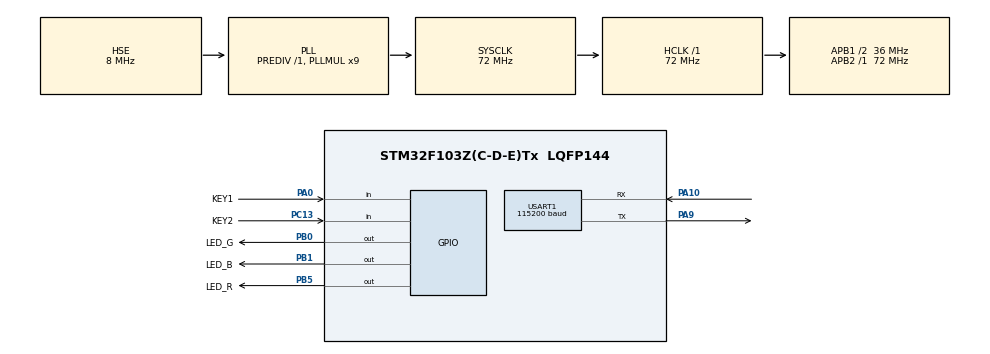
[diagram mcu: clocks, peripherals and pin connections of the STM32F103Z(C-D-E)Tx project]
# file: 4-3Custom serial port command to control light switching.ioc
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Mcu.Family=STM32F1
Mcu.Name=STM32F103Z(C-D-E)Tx
Mcu.Package=LQFP144
NVIC.PriorityGroup=NVIC_PRIORITYGROUP_4
NVIC.USART1_IRQn=true\:10\:0\:true\:false\:true\:true\:true\:true
OSC_IN.Mode=HSE-External-Oscillator
OSC_IN.Signal=RCC_OSC_IN
OSC_OUT.Mode=HSE-External-Oscillator
OSC_OUT.Signal=RCC_OSC_OUT
PA0-WKUP.GPIO_Label=KEY1
PA0-WKUP.Signal=GPIO_Input
PA10.Mode=Asynchronous
PA10.Signal=USART1_RX
PA13.Mode=Serial_Wire
PA13.Signal=SYS_JTMS-SWDIO
PA14.Mode=Serial_Wire
PA14.Signal=SYS_JTCK-SWCLK
PA9.Mode=Asynchronous
PA9.Signal=USART1_TX
PB0.GPIO_Label=LED_G
PB0.GPIO_ModeDefaultOutputPP=GPIO_MODE_OUTPUT_PP
PB0.GPIO_Speed=GPIO_SPEED_FREQ_HIGH
PB0.PinState=GPIO_PIN_SET
PB0.Signal=GPIO_Output
PB1.GPIO_Label=LED_B
PB1.GPIO_Speed=GPIO_SPEED_FREQ_HIGH
PB1.PinState=GPIO_PIN_SET
PB1.Signal=GPIO_Output
PB5.GPIO_Label=LED_R
PB5.GPIO_Speed=GPIO_SPEED_FREQ_HIGH
PB5.PinState=GPIO_PIN_SET
PB5.Signal=GPIO_Output
PC13-TAMPER-RTC.GPIO_Label=KEY2
PC13-TAMPER-RTC.GPIO_PuPd=GPIO_NOPULL
PC13-TAMPER-RTC.Signal=GPIO_Input
PC14-OSC32_IN.Mode=LSE-External-Oscillator
PC14-OSC32_IN.Signal=RCC_OSC32_IN
PC15-OSC32_OUT.Mode=LSE-External-Oscillator
PC15-OSC32_OUT.Signal=RCC_OSC32_OUT
ProjectManager.HeapSize=0x200
ProjectManager.StackSize=0x400
ProjectManager.TargetToolchain=MDK-ARM V5
RCC.AHBFreq_Value=72000000
RCC.APB1CLKDivider=RCC_HCLK_DIV2
RCC.APB1Freq_Value=36000000
RCC.APB1TimFreq_Value=72000000
RCC.APB2Freq_Value=72000000
RCC.APB2TimFreq_Value=72000000
RCC.HCLKFreq_Value=72000000
RCC.PLLMUL=RCC_PLL_MUL9
RCC.PLLSourceVirtual=RCC_PLLSOURCE_HSE
RCC.SYSCLKFreq_VALUE=72000000
RCC.SYSCLKSource=RCC_SYSCLKSOURCE_PLLCLK
RCC.USBFreq_Value=72000000
USART1.BaudRate=115200
USART1.Mode=MODE_TX_RX
USART1.VirtualMode=VM_ASYNC
USART1.WordLength=WORDLENGTH_8B
board=custom

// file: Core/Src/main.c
/* USER CODE BEGIN Header */
/**
 ******************************************************************************
 * @file           : main.c
 * @brief          : Main program body
 ******************************************************************************
 * @attention
 *
 * Copyright (c) 2026 STMicroelectronics.
 * All rights reserved.
 *
 * This software is licensed under terms that can be found in the LICENSE file
 * in the root directory of this software component.
 * If no LICENSE file comes with this software, it is provided AS-IS.
 *
 ******************************************************************************
 */
/* USER CODE END Header */
#include "main.h"

UART_HandleTypeDef huart1;

void SystemClock_Config(void);
static void MX_GPIO_Init(void);
static void MX_USART1_UART_Init(void);

int main(void)
{

  /* MCU Configuration--------------------------------------------------------*/

  /* Reset of all peripherals, Initializes the Flash interface and the Systick. */
  HAL_Init();

  /* Configure the system clock */
  SystemClock_Config();

  /* Initialize all configured peripherals */
  MX_GPIO_Init();
  MX_USART1_UART_Init();
  /* USER CODE BEGIN 2 */
  HAL_UART_Receive_IT(&huart1, (uint8_t *)Uart1Temp, REC_LENGTH); // 启动UART1接收中断
  /* USER CODE END 2 */

  /* Infinite loop */
  /* USER CODE BEGIN WHILE */
  while (1)
  {
    // // P106 串口应声虫
    // if(Uart1ReceiveFlag) // 如果接收完成标志被置位
    // {
    //   HAL_UART_Transmit(&huart1, Uart1ReceiveBuf, Uart1ReceiveCnt, 0xFFFF); // 通过串口发送接收到的数据
    //   for(int i=0; i<Uart1ReceiveCnt; i++) // 清除接收缓存
    //   {
    //       Uart1ReceiveBuf[i] = 0;
    //   }
    //   Uart1ReceiveCnt = 0; // 重置接收计数器
    //   Uart1ReceiveFlag = 0; // 清除接收完成标志
    // }

    // P108 通过串口控制LED
    if (Uart1ReceiveFlag) // 如果接收完成标志被置位
    {
      HAL_UART_AbortReceive(&huart1); // 中止当前接收，防止数据冲突

      printf("The received command is :\r\n");
      HAL_UART_Transmit(&huart1, Uart1ReceiveBuf, Uart1ReceiveCnt, 0xFFFF); // 通过串口发送接收到的数据

      if ((':' == Uart1ReceiveBuf[0]) && ('S' == Uart1ReceiveBuf[1]))       // 检验起始位':',地址位'S'表示stm32开发板
      {
        if ('L' == Uart1ReceiveBuf[2]) // 如果命令格式正确，且第三位为'L'，表示控制LED
        {
          // 红灯
          if ('0' == Uart1ReceiveBuf[3]) // 如果第四位为'0'，表示熄灭红色LED
          {
            HAL_GPIO_WritePin(LED_R_GPIO_Port, LED_R_Pin, GPIO_PIN_SET);
          }
          else if ('1' == Uart1ReceiveBuf[3]) // 如果第四位为'1'，表示点亮红色LED
          {
            HAL_GPIO_WritePin(LED_R_GPIO_Port, LED_R_Pin, GPIO_PIN_RESET);
          }
          else if ('2' == Uart1ReceiveBuf[3]) // 如果第四位为'2'，表示切换红色LED状态
          {
            HAL_GPIO_TogglePin(LED_R_GPIO_Port, LED_R_Pin);
          }

          // 蓝灯
          if ('0' == Uart1ReceiveBuf[4]) // 如果第五位为'0'，表示熄灭蓝色LED
          {
            HAL_GPIO_WritePin(LED_B_GPIO_Port, LED_B_Pin, GPIO_PIN_SET);
          }
          else if ('1' == Uart1ReceiveBuf[4]) // 如果第五位为'1'，表示点亮蓝色LED
          {
            HAL_GPIO_WritePin(LED_B_GPIO_Port, LED_B_Pin, GPIO_PIN_RESET);
          }
          else if ('2' == Uart1ReceiveBuf[4]) // 如果第五位为'2'，表示切换蓝色LED状态
          {
            HAL_GPIO_TogglePin(LED_B_GPIO_Port, LED_B_Pin);
          }

          // 绿灯
          if ('0' == Uart1ReceiveBuf[5]) // 如果第六位为'0'，表示熄灭绿色LED
          {
            HAL_GPIO_WritePin(LED_G_GPIO_Port, LED_G_Pin, GPIO_PIN_SET);
          }
          else if ('1' == Uart1ReceiveBuf[5]) // 如果第六位为'1'，表示点亮绿色LED
          {
            HAL_GPIO_WritePin(LED_G_GPIO_Port, LED_G_Pin, GPIO_PIN_RESET);
          }
          else if ('2' == Uart1ReceiveBuf[5]) // 如果第六位为'2'，表示切换绿色LED状态
          {
            HAL_GPIO_TogglePin(LED_G_GPIO_Port, LED_G_Pin);
          }
        }
      }
      for (int i = 0; i < Uart1ReceiveCnt; i++) // 清除接收缓存
      {
        Uart1ReceiveBuf[i] = 0;
      }
      Uart1ReceiveCnt = 0;  // 重置接收计数器
      Uart1ReceiveFlag = 0; // 清除接收完成标志

      HAL_UART_Receive_IT(&huart1, (uint8_t *)Uart1Temp, REC_LENGTH); // 重新启动UART1接收中断
    }
  }

  /* USER CODE END WHILE */

}

void SystemClock_Config(void)
{
  RCC_OscInitTypeDef RCC_OscInitStruct = {0};
  RCC_ClkInitTypeDef RCC_ClkInitStruct = {0};

  /** Initializes the RCC Oscillators according to the specified parameters
   * in the RCC_OscInitTypeDef structure.
   */
  RCC_OscInitStruct.OscillatorType = RCC_OSCILLATORTYPE_HSE;
  RCC_OscInitStruct.HSEState = RCC_HSE_ON;
  RCC_OscInitStruct.HSEPredivValue = RCC_HSE_PREDIV_DIV1;
  RCC_OscInitStruct.HSIState = RCC_HSI_ON;
  RCC_OscInitStruct.PLL.PLLState = RCC_PLL_ON;
  RCC_OscInitStruct.PLL.PLLSource = RCC_PLLSOURCE_HSE;
  RCC_OscInitStruct.PLL.PLLMUL = RCC_PLL_MUL9;
  if (HAL_RCC_OscConfig(&RCC_OscInitStruct) != HAL_OK)
  {
    Error_Handler();
  }

  /** Initializes the CPU, AHB and APB buses clocks
   */
  RCC_ClkInitStruct.ClockType = RCC_CLOCKTYPE_HCLK | RCC_CLOCKTYPE_SYSCLK | RCC_CLOCKTYPE_PCLK1 | RCC_CLOCKTYPE_PCLK2;
  RCC_ClkInitStruct.SYSCLKSource = RCC_SYSCLKSOURCE_PLLCLK;
  RCC_ClkInitStruct.AHBCLKDivider = RCC_SYSCLK_DIV1;
  RCC_ClkInitStruct.APB1CLKDivider = RCC_HCLK_DIV2;
  RCC_ClkInitStruct.APB2CLKDivider = RCC_HCLK_DIV1;

  if (HAL_RCC_ClockConfig(&RCC_ClkInitStruct, FLASH_LATENCY_2) != HAL_OK)
  {
    Error_Handler();
  }
}

static void MX_USART1_UART_Init(void)
{

  huart1.Instance = USART1;
  huart1.Init.BaudRate = 115200;
  huart1.Init.WordLength = UART_WORDLENGTH_8B;
  huart1.Init.StopBits = UART_STOPBITS_1;
  huart1.Init.Parity = UART_PARITY_NONE;
  huart1.Init.Mode = UART_MODE_TX_RX;
  huart1.Init.HwFlowCtl = UART_HWCONTROL_NONE;
  huart1.Init.OverSampling = UART_OVERSAMPLING_16;
  if (HAL_UART_Init(&huart1) != HAL_OK)
  {
    Error_Handler();
  }
}

static void MX_GPIO_Init(void)
{
  GPIO_InitTypeDef GPIO_InitStruct = {0};

  /* GPIO Ports Clock Enable */
  __HAL_RCC_GPIOC_CLK_ENABLE();
  __HAL_RCC_GPIOA_CLK_ENABLE();
  __HAL_RCC_GPIOB_CLK_ENABLE();

  /*Configure GPIO pin Output Level */
  HAL_GPIO_WritePin(GPIOB, LED_G_Pin | LED_B_Pin | LED_R_Pin, GPIO_PIN_SET);

  /*Configure GPIO pin : KEY2_Pin */
  GPIO_InitStruct.Pin = KEY2_Pin;
  GPIO_InitStruct.Mode = GPIO_MODE_INPUT;
  GPIO_InitStruct.Pull = GPIO_NOPULL;
  HAL_GPIO_Init(KEY2_GPIO_Port, &GPIO_InitStruct);

  /*Configure GPIO pin : KEY1_Pin */
  GPIO_InitStruct.Pin = KEY1_Pin;
  GPIO_InitStruct.Mode = GPIO_MODE_INPUT;
  GPIO_InitStruct.Pull = GPIO_NOPULL;
  HAL_GPIO_Init(KEY1_GPIO_Port, &GPIO_InitStruct);

  /*Configure GPIO pins : LED_G_Pin LED_B_Pin LED_R_Pin */
  GPIO_InitStruct.Pin = LED_G_Pin | LED_B_Pin | LED_R_Pin;
  GPIO_InitStruct.Mode = GPIO_MODE_OUTPUT_PP;
  GPIO_InitStruct.Pull = GPIO_NOPULL;
  GPIO_InitStruct.Speed = GPIO_SPEED_FREQ_HIGH;
  HAL_GPIO_Init(GPIOB, &GPIO_InitStruct);

}

void Error_Handler(void)
{
  __disable_irq();
  while (1)
  {
  }
}
